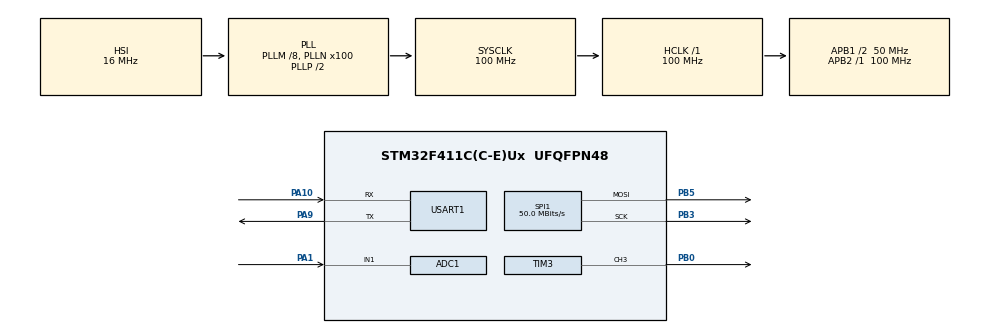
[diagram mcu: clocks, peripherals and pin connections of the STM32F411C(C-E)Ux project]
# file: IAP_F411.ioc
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ADC1.Channel-0\#ChannelRegularConversion=ADC_CHANNEL_1
ADC1.NbrOfConversionFlag=1
ADC1.Rank-0\#ChannelRegularConversion=1
ADC1.SamplingTime-0\#ChannelRegularConversion=ADC_SAMPLETIME_3CYCLES
ADC1.master=1
Mcu.Family=STM32F4
Mcu.Name=STM32F411C(C-E)Ux
Mcu.Package=UFQFPN48
NVIC.PriorityGroup=NVIC_PRIORITYGROUP_4
PA1.Signal=ADCx_IN1
PA10.Mode=Asynchronous
PA10.Signal=USART1_RX
PA13.Mode=Serial_Wire
PA13.Signal=SYS_JTMS-SWDIO
PA14.Mode=Serial_Wire
PA14.Signal=SYS_JTCK-SWCLK
PA9.Mode=Asynchronous
PA9.Signal=USART1_TX
PB0.Signal=S_TIM3_CH3
PB3.Mode=TX_Only_Simplex_Unidirect_Master
PB3.Signal=SPI1_SCK
PB5.Mode=TX_Only_Simplex_Unidirect_Master
PB5.Signal=SPI1_MOSI
ProjectManager.HeapSize=0x200
ProjectManager.StackSize=0x400
ProjectManager.TargetToolchain=MDK-ARM V5.27
RCC.48MHZClocksFreq_Value=50000000
RCC.AHBFreq_Value=100000000
RCC.APB1CLKDivider=RCC_HCLK_DIV2
RCC.APB1Freq_Value=50000000
RCC.APB1TimFreq_Value=100000000
RCC.APB2Freq_Value=100000000
RCC.APB2TimFreq_Value=100000000
RCC.CortexFreq_Value=100000000
RCC.HCLKFreq_Value=100000000
RCC.HSE_VALUE=25000000
RCC.HSI_VALUE=16000000
RCC.LSE_VALUE=32768
RCC.PLLM=8
RCC.PLLN=100
RCC.SYSCLKFreq_VALUE=100000000
RCC.SYSCLKSource=RCC_SYSCLKSOURCE_PLLCLK
RCC.VCOOutputFreq_Value=200000000
SH.ADCx_IN1.0=ADC1_IN1,IN1
SH.S_TIM3_CH3.0=TIM3_CH3,PWM Generation3 CH3
SPI1.CLKPhase=SPI_PHASE_2EDGE
SPI1.CLKPolarity=SPI_POLARITY_HIGH
SPI1.CalculateBaudRate=50.0 MBits/s
SPI1.Direction=SPI_DIRECTION_2LINES
SPI1.Mode=SPI_MODE_MASTER
SPI1.VirtualType=VM_MASTER
TIM3.Channel-PWM\ Generation3\ CH3=TIM_CHANNEL_3
TIM3.Period=300
TIM3.Prescaler=99
USART1.VirtualMode=VM_ASYNC
board=custom

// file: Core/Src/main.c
/* USER CODE BEGIN Header */
/**
  ******************************************************************************
  * @file           : main.c
  * @brief          : Main program body
  ******************************************************************************
  * @attention
  *
  * Copyright (c) 2024 STMicroelectronics.
  * All rights reserved.
  *
  * This software is licensed under terms that can be found in the LICENSE file
  * in the root directory of this software component.
  * If no LICENSE file comes with this software, it is provided AS-IS.
  *
  ******************************************************************************
  */
/* USER CODE END Header */
#include "main.h"
#include "adc.h"
#include "spi.h"
#include "tim.h"
#include "usart.h"
#include "gpio.h"

/* USER CODE BEGIN Includes */
#include "menu.h"
#include "delay.h"
#include "lcd.h"
#include "lcd_init.h"
#include "power.h"
#include "key.h"
#include "KT6328.h"
#include <string.h>
#include <stdio.h>
/* USER CODE END Includes */

/* USER CODE BEGIN PV */

uint8_t boot_in_menu_flag = 0;

extern pFunction Jump_To_Application;
extern uint32_t JumpAddress;

/* USER CODE END PV */

void SystemClock_Config(void);

/* USER CODE BEGIN 0 */

/* ---- 极简 I2C bit-bang：关 EM7028 心率传感器 LED ----
 * 冷启动长按 KEY1 进 BootLoader 时，EM7028 的 HRS_CFG 可能还保留 APP 设的 0x08（LED 开），
 * BootLoader 不操作它就会一直亮。这里直接用 GPIO PB13(SDA)/PB14(SCL) 模拟 I2C，
 * 写 SOFT_RESET(0x0F) 寄存器复位 EM7028，LED 自然关闭。
 * 不引入完整 iic_hal.c，只做这一次写操作。
 */
#define EM7028_SDA_PIN  GPIO_PIN_13
#define EM7028_SCL_PIN  GPIO_PIN_14
#define EM7028_SDA_PORT GPIOB
#define EM7028_SCL_PORT GPIOB
#define EM7028_I2C_ADDR 0x24   /* 7-bit addr, 左移后 0x48 */
#define EM7028_REG_SOFT_RESET 0x0F

static void em7028_sda_out(void)
{
    GPIO_InitTypeDef g = {0};
    g.Pin = EM7028_SDA_PIN;
    g.Mode = GPIO_MODE_OUTPUT_OD;
    g.Pull = GPIO_NOPULL;
    g.Speed = GPIO_SPEED_FREQ_HIGH;
    HAL_GPIO_Init(EM7028_SDA_PORT, &g);
}
static void em7028_sda_in(void)
{
    GPIO_InitTypeDef g = {0};
    g.Pin = EM7028_SDA_PIN;
    g.Mode = GPIO_MODE_INPUT;
    g.Pull = GPIO_PULLUP;
    g.Speed = GPIO_SPEED_FREQ_HIGH;
    HAL_GPIO_Init(EM7028_SDA_PORT, &g);
}
static void em7028_sda(uint8_t v) { HAL_GPIO_WritePin(EM7028_SDA_PORT, EM7028_SDA_PIN, v ? GPIO_PIN_SET : GPIO_PIN_RESET); }
static void em7028_scl(uint8_t v) { HAL_GPIO_WritePin(EM7028_SCL_PORT, EM7028_SCL_PIN, v ? GPIO_PIN_SET : GPIO_PIN_RESET); }
static uint8_t em7028_sda_read(void) { return HAL_GPIO_ReadPin(EM7028_SDA_PORT, EM7028_SDA_PIN) == GPIO_PIN_SET ? 1 : 0; }

static void em7028_i2c_start(void)
{
    em7028_sda_out();
    em7028_sda(1); delay_us(2);
    em7028_scl(1); delay_us(2);
    em7028_sda(0); delay_us(2);
    em7028_scl(0); delay_us(2);
}
static void em7028_i2c_stop(void)
{
    em7028_sda_out();
    em7028_scl(0); delay_us(2);
    em7028_sda(0); delay_us(2);
    em7028_scl(1); delay_us(2);
    em7028_sda(1); delay_us(2);
}
static void em7028_i2c_send_byte(uint8_t b)
{
    em7028_sda_out();
    for (int i = 0; i < 8; i++) {
        em7028_scl(0); delay_us(2);
        em7028_sda(b & 0x80); delay_us(2);
        b <<= 1;
        em7028_scl(1); delay_us(2);
    }
    em7028_scl(0); delay_us(2);
}
static uint8_t em7028_i2c_wait_ack(void)
{
    uint8_t retry = 10;
    em7028_sda_in();
    em7028_scl(1); delay_us(2);
    while (em7028_sda_read()) {
        if (--retry == 0) { em7028_sda_out(); em7028_i2c_stop(); return 1; }
        delay_us(2);
    }
    em7028_sda_out();
    em7028_scl(0); delay_us(2);
    return 0;
}

static void EM7028_Disable_LED(void)
{
    __HAL_RCC_GPIOB_CLK_ENABLE();
    /* 先把 SCL 配成推挽输出 */
    {
        GPIO_InitTypeDef g = {0};
        g.Pin = EM7028_SCL_PIN;
        g.Mode = GPIO_MODE_OUTPUT_PP;
        g.Pull = GPIO_PULLUP;
        g.Speed = GPIO_SPEED_FREQ_HIGH;
        HAL_GPIO_Init(EM7028_SCL_PORT, &g);
    }
    /* 方案1：直接写 HRS_CFG=0x00 关 LED */
    em7028_i2c_start();
    em7028_i2c_send_byte(EM7028_I2C_ADDR << 1);
    if (em7028_i2c_wait_ack()) { em7028_i2c_stop(); return; }  /* 无应答，EM7028 可能没焊接/不在线 */
    em7028_i2c_send_byte(0x01);   /* HRS_CFG */
    em7028_i2c_wait_ack();
    em7028_i2c_send_byte(0x00);   /* 关 LED */
    em7028_i2c_wait_ack();
    em7028_i2c_stop();
    delay_us(10);
    /* 方案2保险：写 SOFT_RESET 寄存器复位 */
    em7028_i2c_start();
    em7028_i2c_send_byte(EM7028_I2C_ADDR << 1);
    if (em7028_i2c_wait_ack()) { em7028_i2c_stop(); return; }
    em7028_i2c_send_byte(EM7028_REG_SOFT_RESET);
    em7028_i2c_wait_ack();
    em7028_i2c_send_byte(0x00);
    em7028_i2c_wait_ack();
    em7028_i2c_stop();
}

static void JumpToApp(void)
{
  printf("Jump to app\r\n");
  SysTick->CTRL = 0X00;
  SysTick->LOAD = 0;
  SysTick->VAL = 0;
  __disable_irq();

  JumpAddress = *(__IO uint32_t*) (APPLICATION_ADDRESS + 4);
  Jump_To_Application = (pFunction) JumpAddress;
  __set_MSP(*(__IO uint32_t*) APPLICATION_ADDRESS);
  Jump_To_Application();
}

/* USER CODE END 0 */

int main(void)
{
  /* USER CODE BEGIN 1 */
	SCB->VTOR = FLASH_BASE;
  /* USER CODE END 1 */

  /* MCU Configuration--------------------------------------------------------*/

  /* Reset of all peripherals, Initializes the Flash interface and the Systick. */
  HAL_Init();

  /* Re-assert the power latch as early as possible so a software reset does
     not let the PMIC shut the board down before the rest of main runs. */
  Power_Init();

  /* Configure the system clock */
  SystemClock_Config();

  /* USER CODE BEGIN SysInit */

  /* App 直跳进入时 PRIMASK=1，这里恢复全局中断使 HAL_Delay/SysTick 正常 */
  __enable_irq();

  /* USER CODE END SysInit */

  /* Initialize all configured peripherals */
  MX_GPIO_Init();
  MX_USART1_UART_Init();
  MX_SPI1_Init();
  MX_TIM3_Init();
  MX_ADC1_Init();
  /* USER CODE BEGIN 2 */

	//sys delay
	delay_init();

  // 关闭 EM7028 心率传感器 LED（APP 跑过开过，冷启动进 BootLoader 后仍亮）
  EM7028_Disable_LED();

  //key
	Key_Port_Init();

	//BLE
	KT6328_GPIO_Init();
	KT6328_Enable();

	//PWM Start
	HAL_TIM_PWM_Start(&htim3, TIM_CHANNEL_3);

	//lcd
	LCD_Init();
	LCD_Fill(0, 0, LCD_W, LCD_H, BLACK);
	delay_ms(10);
	LCD_Set_Light(50);

  // === Software Upgrade Request: Check RTC Backup Register ===
  // App writes BKP1R=0xB007 via OV+UPGRADE then resets.
  // BootLoader detects this and enters upgrade mode.
  HAL_PWR_EnableBkUpAccess();
  if (RTC->BKP1R == 0xB007)
  {
      RTC->BKP1R = 0;  // Clear flag to prevent false trigger on next boot
      boot_in_menu_flag = 1;
      LCD_ShowString(72, LCD_H/2, (uint8_t*)"OTA Upgrade", WHITE, BLACK, 24, 0);
      delay_ms(2000);   // �ȴ� KT6328 BLE ģ块启动并重新连�ӣ�否�򴮿ڲ˵ノ޷�͸传
      FLASH_If_Init();
      Main_Menu();
  }

  //寮?机启动时如果按下KEY1, 进入boot中IAP升级模式
  if(HAL_GPIO_ReadPin(KEY1_PORT, KEY1_PIN) == 0)
  {
		// 延时判断是否真的按下
    delay_ms(500);
    if(HAL_GPIO_ReadPin(KEY1_PORT, KEY1_PIN) == 0)
    {

      LCD_ShowString(72, LCD_H/2, (uint8_t*)"Bootload", WHITE, BLACK, 24, 0);//12*6,16*8,24*12,32*16
      LCD_ShowString(32, LCD_H/2+48, (uint8_t*)"OV-Watch V2.4.1", WHITE, BLACK, 24, 0);

			boot_in_menu_flag = 1;

      //go in boot menu
      FLASH_If_Init();
      Main_Menu();
    }
  }

  //如果没按下KEY1, 且有APP程序, 则运行APP, 没有APP鍒?
  else
  {
    uint32_t data1, data2;
    uint32_t address = 0x08008000; // Flash 中数据的起始地址

    // 读取地址涓? 0x08008000 的数鎹?
    data1 = *(uint32_t *)address;

    // 读取地址涓? 0x08008004 的数鎹?
    data2 = *(uint32_t *)(address + sizeof(uint32_t));

    // 将数据转换为字符数组
    char str1[5], str2[5];
    memcpy(str1, &data1, sizeof(data1));
    memcpy(str2, &data2, sizeof(data2));
    str1[4] = '\0';
    str2[4] = '\0';

    // 拼接两个字符数组
    char combined_str[9];
    strcpy(combined_str, str1);
    strcat(combined_str, str2);

    // 妫?查是否与 "APP FLAG" 相同
    if (strcmp(combined_str, "APP FLAG") == 0)
    {
        // 如果相同则跳杞?
        printf("APP FLAG OK, jump to app\r\n");
        JumpToApp();
    }
		// APP FLAG ???? App ???????????? App ????
		else
		{
			uint32_t app_sp = *(__IO uint32_t *)APPLICATION_ADDRESS;
			uint32_t app_pc = *(__IO uint32_t *)(APPLICATION_ADDRESS + 4);
			if ((app_sp >= 0x20000000U) && (app_sp <= 0x2001FFFFU) &&
			    (app_pc >= 0x0800C000U) && (app_pc <= 0x0807FFFFU))
			{
				printf("No APP FLAG but valid app vector, jump to app\r\n");
				JumpToApp();
			}
			else
			{
				LCD_ShowString(74, LCD_H/2, (uint8_t*)"No App!", WHITE, BLACK, 24, 0);
				LCD_ShowString(32, LCD_H/2+48, (uint8_t*)"Please Download", WHITE, BLACK, 24, 0);
				HAL_Delay(1000);
			}
		}
  }

  /* USER CODE END 2 */

  /* Infinite loop */
  while (1)
  {

    /* USER CODE BEGIN 3 */
		printf("run in boot while(1)\r\n");
    printf("there is no legal APP\r\n");
		HAL_Delay(500);
		Power_DisEnable();
  }
  /* USER CODE END 3 */
}

void SystemClock_Config(void)
{
  RCC_OscInitTypeDef RCC_OscInitStruct = {0};
  RCC_ClkInitTypeDef RCC_ClkInitStruct = {0};

  /** Configure the main internal regulator output voltage
  */
  __HAL_RCC_PWR_CLK_ENABLE();
  __HAL_PWR_VOLTAGESCALING_CONFIG(PWR_REGULATOR_VOLTAGE_SCALE1);

  /** Initializes the RCC Oscillators according to the specified parameters
  * in the RCC_OscInitTypeDef structure.
  */
  RCC_OscInitStruct.OscillatorType = RCC_OSCILLATORTYPE_HSI;
  RCC_OscInitStruct.HSIState = RCC_HSI_ON;
  RCC_OscInitStruct.HSICalibrationValue = RCC_HSICALIBRATION_DEFAULT;
  RCC_OscInitStruct.PLL.PLLState = RCC_PLL_ON;
  RCC_OscInitStruct.PLL.PLLSource = RCC_PLLSOURCE_HSI;
  RCC_OscInitStruct.PLL.PLLM = 8;
  RCC_OscInitStruct.PLL.PLLN = 100;
  RCC_OscInitStruct.PLL.PLLP = RCC_PLLP_DIV2;
  RCC_OscInitStruct.PLL.PLLQ = 4;
  if (HAL_RCC_OscConfig(&RCC_OscInitStruct) != HAL_OK)
  {
    Error_Handler();
  }

  /** Initializes the CPU, AHB and APB buses clocks
  */
  RCC_ClkInitStruct.ClockType = RCC_CLOCKTYPE_HCLK|RCC_CLOCKTYPE_SYSCLK
                              |RCC_CLOCKTYPE_PCLK1|RCC_CLOCKTYPE_PCLK2;
  RCC_ClkInitStruct.SYSCLKSource = RCC_SYSCLKSOURCE_PLLCLK;
  RCC_ClkInitStruct.AHBCLKDivider = RCC_SYSCLK_DIV1;
  RCC_ClkInitStruct.APB1CLKDivider = RCC_HCLK_DIV2;
  RCC_ClkInitStruct.APB2CLKDivider = RCC_HCLK_DIV1;

  if (HAL_RCC_ClockConfig(&RCC_ClkInitStruct, FLASH_LATENCY_3) != HAL_OK)
  {
    Error_Handler();
  }
}

void Error_Handler(void)
{
  __disable_irq();
  while (1)
  {
  }
}
